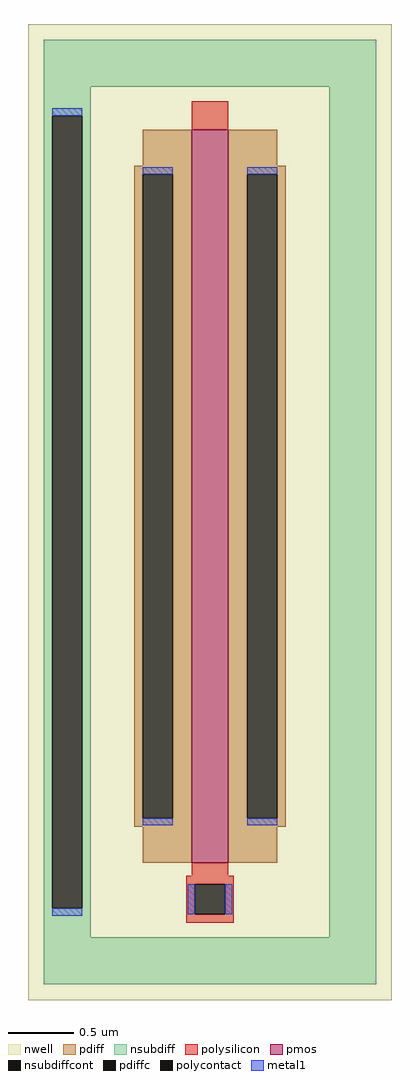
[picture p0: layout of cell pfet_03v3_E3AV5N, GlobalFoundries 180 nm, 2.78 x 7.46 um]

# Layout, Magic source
magic
tech gf180mcuD
magscale 1 10
<< nwell >>
rect -278 -746 278 746
<< pmos >>
rect -28 -536 28 584
<< pdiff >>
rect -103 529 -28 584
rect -116 516 -28 529
rect -116 -468 -103 516
rect -57 -468 -28 516
rect -116 -481 -28 -468
rect -103 -536 -28 -481
rect 28 529 103 584
rect 28 516 116 529
rect 28 -468 57 516
rect 103 -468 116 516
rect 28 -481 116 -468
rect 28 -536 103 -481
<< pdiffc >>
rect -103 -468 -57 516
rect 57 -468 103 516
<< nsubdiff >>
rect -254 650 254 722
rect -254 606 -182 650
rect -254 -606 -241 606
rect -195 -606 -182 606
rect -254 -650 -182 -606
rect 182 -650 254 650
rect -254 -722 254 -650
<< nsubdiffcont >>
rect -241 -606 -195 606
<< polysilicon >>
rect -28 584 28 628
rect -28 -556 28 -536
rect -36 -569 36 -556
rect -36 -615 -23 -569
rect 23 -615 36 -569
rect -36 -628 36 -615
<< polycontact >>
rect -23 -615 23 -569
<< metal1 >>
rect -241 606 -195 617
rect -103 516 -57 527
rect -103 -479 -57 -468
rect 57 516 103 527
rect 57 -479 103 -468
rect -241 -617 -195 -606
rect -34 -615 -23 -569
rect 23 -615 34 -569
<< properties >>
string FIXED_BBOX -218 -686 218 686
string gencell pfet_03v3
string library gf180mcu
string parameters w 5.6 l 0.280 m 1 nf 1 diffcov 90 polycov 100 guard 1 glc 1 grc 0 gtc 0 gbc 0 tbcov 100 rlcov 100 topc 0 botc 1 poverlap 0 doverlap 1 lmin 0.28 wmin 0.22 class mosfet full_metal 0 compatible {pfet_03v3 pfet_05v0 pfet_06v0}
<< end >>
